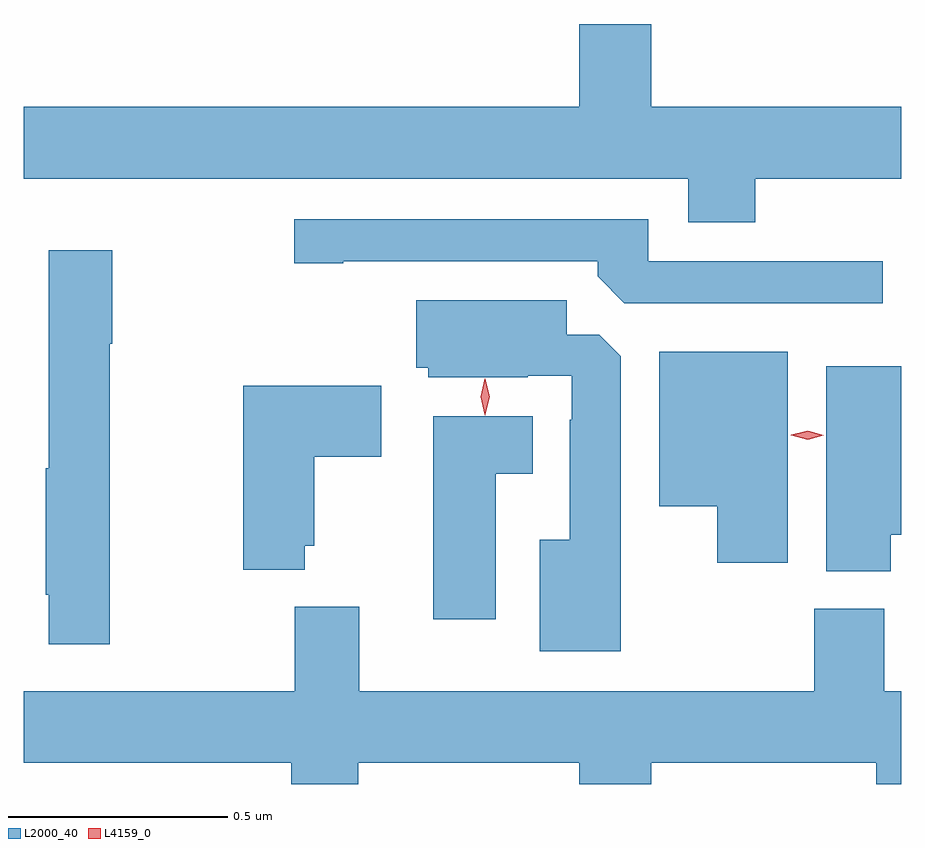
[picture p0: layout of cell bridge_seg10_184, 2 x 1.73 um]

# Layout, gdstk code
import gdstk
lib = gdstk.Library(unit=1e-6, precision=1e-09)
def P(c, l, *ps):  # polygons
    for p in ps: c.add(gdstk.Polygon(p, *l))
L2000_40 = (2000, 40)
L4159_0 = (4159, 0)

bridge_seg10_184 = lib.new_cell('bridge_seg10_184')
P(bridge_seg10_184, L2000_40, [(177.398,1296.32),(177.73,1296.32),(177.73,1296.484),(177.16,1296.484),(177.16,1296.673),(176.996,1296.673),(176.996,1296.484),(175.73,1296.484),(175.73,1296.32),(177.245,1296.32),(177.245,1296.221),(177.398,1296.221)],
  [(177.688,1296.132),(177.153,1296.132),(177.153,1296.228),(176.346,1296.228),(176.346,1296.127),(176.458,1296.127),(176.458,1296.132),(177.038,1296.132),(177.038,1296.098),(177.099,1296.036),(177.688,1296.036)],
  [(175.926,1295.944),(175.931,1295.944),(175.931,1296.157),(175.787,1296.157),(175.787,1295.66),(175.78,1295.66),(175.78,1295.371),(175.787,1295.371),(175.787,1295.259),(175.926,1295.259)],
  [(177.091,1295.915),(177.042,1295.964),(176.968,1295.964),(176.968,1296.043),(176.624,1296.043),(176.624,1295.889),(176.652,1295.889),(176.652,1295.867),(176.879,1295.867),(176.879,1295.871),(176.979,1295.871),(176.979,1295.771),(176.975,1295.771),(176.975,1295.497),(176.906,1295.497),(176.906,1295.243),(177.091,1295.243)],
  [(177.472,1295.926),(177.179,1295.926),(177.179,1295.573),(177.311,1295.573),(177.311,1295.445),(177.472,1295.445)],
  [(177.707,1295.508),(177.73,1295.508),(177.73,1295.893),(177.56,1295.893),(177.56,1295.425),(177.707,1295.425)],
  [(176.37,1295.483),(176.392,1295.483),(176.392,1295.686),(176.545,1295.686),(176.545,1295.848),(176.23,1295.848),(176.23,1295.429),(176.37,1295.429)],
  [(176.806,1295.648),(176.89,1295.648),(176.89,1295.779),(176.663,1295.779),(176.663,1295.316),(176.806,1295.316)],
  [(176.492,1294.988),(176.996,1294.988),(176.996,1294.94),(177.16,1294.94),(177.16,1294.988),(177.674,1294.988),(177.674,1294.94),(177.73,1294.94),(177.73,1295.152),(177.692,1295.152),(177.692,1295.34),(177.532,1295.34),(177.532,1295.152),(176.494,1295.152),(176.494,1295.344),(176.347,1295.344),(176.347,1295.152),(175.73,1295.152),(175.73,1294.988),(176.34,1294.988),(176.34,1294.94),(176.492,1294.94)])
P(bridge_seg10_184, L4159_0, [(177.517,1295.725),(177.48,1295.735),(177.479,1295.735),(177.48,1295.736),(177.517,1295.745),(177.554,1295.735),(177.554,1295.735),(177.554,1295.735)],
  [(176.782,1295.781),(176.781,1295.782),(176.772,1295.823),(176.781,1295.864),(176.782,1295.864),(176.782,1295.864),(176.792,1295.823),(176.782,1295.782)])

lib.write_gds('bridge_seg10_184.gds')
